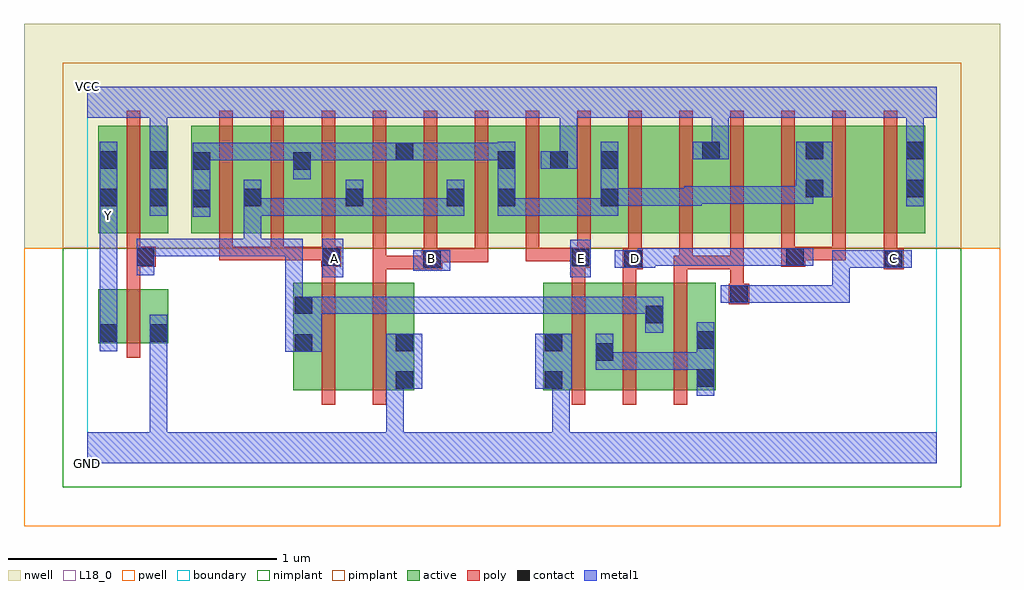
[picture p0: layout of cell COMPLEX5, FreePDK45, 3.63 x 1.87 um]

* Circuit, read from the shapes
.subckt COMPLEX5 A B C D E GND VCC Y
M1 GND n1 Y VSUBS nfet w=0.2u l=0.05u
M2 n2 A n1 VSUBS nfet w=0.4u l=0.05u
M3 GND B n2 VSUBS nfet w=0.4u l=0.05u
M4 n3 E GND VSUBS nfet w=0.4u l=0.05u
M5 n1 D n3 VSUBS nfet w=0.4u l=0.05u
M6 n3 C n1 VSUBS nfet w=0.4u l=0.05u
M7 VCC n1 Y n4 pfet w=0.4u l=0.05u
M8 n1 A n5 n4 pfet w=0.4u l=0.05u m=3
M9 n5 B n1 n4 pfet w=0.4u l=0.05u m=3
M10 VCC E n5 n4 pfet w=0.4u l=0.05u m=2
M11 n6 D n5 n4 pfet w=0.4u l=0.05u
M12 VCC C n6 n4 pfet w=0.4u l=0.05u
M13 n7 C VCC n4 pfet w=0.4u l=0.05u
M14 n5 D n7 n4 pfet w=0.4u l=0.05u
M15 n8 D n5 n4 pfet w=0.4u l=0.05u
M16 VCC C n8 n4 pfet w=0.4u l=0.05u
.ends

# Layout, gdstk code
import gdstk
lib = gdstk.Library(unit=1e-6, precision=1e-09)
def R(c, l, rs):  # rectangles x0, y0, x1, y1
    for r in rs: c.add(gdstk.rectangle(r[:2], r[2:], *l))
def A(c, l, x, y, w, h, nx, ny, dx, dy):  # array of equal rectangles
    R(c, l, [(x+i*dx, y+j*dy, x+i*dx+w, y+j*dy+h) for i in range(nx) for j in range(ny)])
active = (1, 0)
pwell = (2, 0)
nwell = (3, 0)
nimplant = (4, 0)
pimplant = (5, 0)
poly = (9, 0)
contact = (10, 0)
metal1 = (11, 0)
L18_0 = (18, 0)
boundary = (235, 0)

complex5 = lib.new_cell('COMPLEX5')
A(complex5, active, 0.762, 0.855, 0.075, 0.345, 3, 1, 0.38, 0)
R(complex5, active, [(0.767,0.272,0.992,0.672), (0.992,0.272,1.217,0.672), (1.142,0.272,1.217,0.597), (1.697,0.272,1.772,0.672), (1.697,0.272,1.962,0.672), (1.887,0.272,2.147,0.672), (1.887,0.272,1.962,0.597), (2.072,0.272,2.337,0.672), (2.262,0.272,2.337,0.672), (0.767,0.332,0.842,0.672), (2.072,0.345,2.147,0.59), (0.042,0.447,0.117,0.647), (0.042,0.447,0.302,0.647), (0.227,0.447,0.302,0.647), (0.042,0.855,0.302,1.255), (0.042,0.855,0.117,1.2), (0.227,0.855,0.302,1.255), (0.387,0.855,0.652,1.255), (0.387,0.855,0.462,1.2), (0.577,0.855,0.837,1.255), (0.577,0.855,0.652,1.07), (0.762,0.855,1.032,1.255), (0.957,0.855,1.217,1.255), (0.957,0.855,1.032,1.07), (1.142,0.855,1.407,1.255), (1.332,0.855,1.597,1.255), (1.332,0.855,1.407,1.07), (1.522,0.855,1.792,1.255), (1.717,0.855,1.792,1.255), (1.717,0.855,1.98,1.255), (1.905,0.855,1.98,1.2), (1.905,0.855,2.132,1.255), (2.132,0.855,2.357,1.255), (2.282,0.855,2.357,1.255), (2.282,0.855,2.512,1.255), (2.512,0.855,2.742,1.255), (2.667,0.855,2.892,1.255), (2.667,0.855,2.742,1.2), (2.892,0.855,3.117,1.255), (3.042,0.855,3.117,1.255)])
R(complex5, pwell, [(-0.235,-0.235,3.395,0.8)])
R(complex5, nwell, [(-0.235,0.8,3.395,1.635)])
R(complex5, nimplant, [(-0.09,-0.09,3.25,0.8)])
R(complex5, pimplant, [(-0.09,0.8,3.25,1.49)])
A(complex5, poly, 1.802, 0.217, 0.05, 0.51, 3, 1, 0.19, 0)
A(complex5, poly, 0.492, 0.755, 0.05, 0.095, 3, 1, 0.19, 0)
A(complex5, poly, 0.492, 0.8, 0.05, 0.51, 14, 1, 0.19, 0)
R(complex5, poly, [(0.872,0.217,0.922,0.727), (1.062,0.217,1.112,0.727), (0.147,0.392,0.197,0.702), (2.387,0.592,2.462,0.667), (2.392,0.617,2.442,0.772), (0.147,0.652,0.197,0.78), (0.872,0.677,0.922,0.78), (1.062,0.677,1.112,0.772), (1.802,0.677,1.852,0.777), (1.992,0.677,2.042,0.772), (2.182,0.677,2.232,0.772), (1.062,0.722,1.112,0.772), (1.062,0.722,1.112,0.85), (1.062,0.722,1.295,0.772), (1.245,0.722,1.32,0.797), (1.245,0.722,1.295,0.772), (1.245,0.722,1.295,0.772), (1.992,0.722,2.067,0.797), (2.182,0.722,2.252,0.772), (2.202,0.722,2.252,0.85), (2.202,0.722,2.427,0.772), (2.377,0.722,2.427,0.772), (2.377,0.722,2.442,0.772), (2.392,0.722,2.442,0.772), (2.392,0.722,2.442,0.772), (2.392,0.722,2.442,0.772), (2.392,0.722,2.442,0.85), (2.962,0.722,3.037,0.797), (1.797,0.727,1.872,0.802), (0.147,0.73,0.255,0.805), (0.87,0.73,0.945,0.805), (2.582,0.73,2.67,0.805), (1.252,0.747,1.302,0.85), (1.27,0.747,1.492,0.797), (1.442,0.747,1.492,0.85), (1.442,0.747,1.492,0.797), (1.442,0.747,1.492,0.797), (1.442,0.747,1.492,0.797), (2.012,0.747,2.062,0.85), (2.962,0.747,3.012,0.85), (1.632,0.752,1.682,0.802), (1.632,0.752,1.682,0.802), (1.632,0.752,1.682,0.802), (1.632,0.752,1.682,0.85), (1.632,0.752,1.847,0.802), (1.822,0.752,1.872,0.85), (0.147,0.755,0.197,0.85), (0.492,0.755,0.542,0.805), (0.492,0.755,0.542,0.805), (0.492,0.755,0.542,0.805), (0.492,0.755,0.732,0.805), (0.682,0.755,0.732,0.805), (0.682,0.755,0.732,0.805), (0.682,0.755,0.732,0.805), (0.682,0.755,0.92,0.805), (2.582,0.755,2.632,0.85), (2.62,0.755,2.822,0.805), (2.772,0.755,2.822,0.85), (2.772,0.755,2.822,0.805), (2.772,0.755,2.822,0.805), (2.772,0.755,2.822,0.805), (0.147,0.8,0.197,1.31)])
R(complex5, contact, [(1.147,0.277,1.212,0.342), (1.702,0.277,1.767,0.342), (2.267,0.285,2.332,0.35), (1.892,0.382,1.957,0.447), (0.772,0.415,0.837,0.48), (1.147,0.417,1.212,0.482), (1.702,0.417,1.767,0.482), (2.267,0.425,2.332,0.49), (0.047,0.452,0.112,0.517), (0.232,0.452,0.297,0.517), (2.077,0.52,2.142,0.585), (0.772,0.555,0.837,0.62), (2.392,0.597,2.457,0.662), (1.25,0.727,1.315,0.792), (1.997,0.727,2.062,0.792), (2.967,0.727,3.032,0.792), (1.802,0.732,1.867,0.797), (0.185,0.735,0.25,0.8), (0.875,0.735,0.94,0.8), (2.6,0.735,2.665,0.8), (0.392,0.952,0.457,1.017), (0.047,0.955,0.112,1.02), (0.232,0.955,0.297,1.02), (0.582,0.955,0.647,1.02), (0.962,0.955,1.027,1.02), (1.337,0.955,1.402,1.02), (1.527,0.955,1.592,1.02), (1.91,0.955,1.975,1.02), (2.672,0.99,2.737,1.055), (3.047,0.99,3.112,1.055), (0.392,1.092,0.457,1.157), (0.767,1.092,0.832,1.157), (0.047,1.095,0.112,1.16), (0.232,1.095,0.297,1.16), (1.527,1.095,1.592,1.16), (1.722,1.095,1.787,1.16), (1.91,1.095,1.975,1.16), (1.147,1.127,1.212,1.192), (2.287,1.13,2.352,1.195), (2.672,1.13,2.737,1.195), (3.047,1.13,3.112,1.195)])
R(complex5, metal1, [(0,0,3.16,0.115), (0.232,0.05,0.297,0.115), (0.232,0.05,0.297,0.115), (0.232,0.05,0.297,0.482), (1.112,0.05,1.177,0.115), (1.112,0.05,1.177,0.115), (1.112,0.05,1.177,0.342), (1.73,0.05,1.795,0.115), (1.73,0.05,1.795,0.115), (1.73,0.05,1.795,0.115), (1.73,0.05,1.795,0.115), (1.73,0.05,1.795,0.342), (2.267,0.25,2.332,0.525), (1.112,0.277,1.177,0.342), (1.112,0.277,1.177,0.342), (1.112,0.277,1.247,0.482), (1.667,0.277,1.802,0.482), (1.892,0.347,2.14,0.412), (1.892,0.347,1.957,0.482), (2.075,0.347,2.14,0.412), (2.075,0.347,2.14,0.412), (2.075,0.347,2.14,0.412), (2.075,0.347,2.277,0.412), (2.212,0.347,2.277,0.412), (2.212,0.347,2.332,0.412), (0.737,0.415,0.872,0.62), (0.047,0.417,0.112,0.552), (0.232,0.417,0.297,0.482), (0.232,0.417,0.297,0.482), (0.232,0.417,0.297,0.482), (0.232,0.417,0.297,0.482), (0.232,0.417,0.297,0.482), (0.232,0.417,0.297,0.482), (0.232,0.417,0.297,0.552), (2.075,0.485,2.142,0.62), (0.047,0.487,0.112,0.917), (0.737,0.555,0.802,0.835), (0.807,0.555,0.872,0.62), (0.807,0.555,0.872,0.62), (0.807,0.555,1.04,0.62), (0.975,0.555,1.04,0.62), (0.975,0.555,1.04,0.62), (0.975,0.555,1.04,0.62), (0.975,0.555,1.177,0.62), (1.112,0.555,1.177,0.62), (1.112,0.555,1.177,0.62), (1.112,0.555,1.177,0.62), (1.112,0.555,1.455,0.62), (1.39,0.555,1.455,0.62), (1.39,0.555,1.455,0.62), (1.39,0.555,1.455,0.62), (1.39,0.555,1.595,0.62), (1.53,0.555,1.595,0.62), (1.53,0.555,1.595,0.62), (1.53,0.555,1.595,0.62), (1.53,0.555,1.732,0.62), (1.667,0.555,1.87,0.62), (1.667,0.555,1.732,0.62), (1.805,0.555,1.87,0.62), (1.805,0.555,1.87,0.62), (1.805,0.555,1.87,0.62), (1.805,0.555,2.14,0.62), (2.075,0.555,2.14,0.62), (2.075,0.555,2.14,0.62), (2.357,0.597,2.492,0.662), (2.427,0.597,2.63,0.662), (2.427,0.597,2.492,0.662), (2.427,0.597,2.492,0.662), (2.427,0.597,2.492,0.662), (2.427,0.597,2.492,0.662), (2.565,0.597,2.63,0.662), (2.565,0.597,2.837,0.662), (2.772,0.597,2.837,0.662), (2.772,0.597,2.837,0.792), (0.875,0.692,0.952,0.835), (1.797,0.692,1.872,0.832), (0.185,0.7,0.25,0.835), (1.212,0.715,1.35,0.792), (1.962,0.727,2.107,0.792), (2.042,0.727,2.112,0.792), (2.047,0.727,2.112,0.8), (2.772,0.727,2.975,0.792), (2.772,0.727,2.837,0.792), (2.772,0.727,2.837,0.792), (2.772,0.727,2.837,0.792), (2.91,0.727,2.997,0.792), (2.91,0.727,2.975,0.792), (2.932,0.727,3.067,0.792), (2.047,0.735,2.277,0.8), (2.212,0.735,2.277,0.8), (2.212,0.735,2.277,0.8), (2.212,0.735,2.277,0.8), (2.212,0.735,2.492,0.8), (2.427,0.735,2.63,0.8), (2.427,0.735,2.492,0.8), (2.427,0.735,2.492,0.8), (2.427,0.735,2.492,0.8), (2.565,0.735,2.7,0.8), (0.185,0.77,0.25,0.835), (0.185,0.77,0.25,0.835), (0.185,0.77,0.435,0.835), (0.37,0.77,0.435,0.835), (0.37,0.77,0.435,0.835), (0.37,0.77,0.435,0.835), (0.37,0.77,0.647,0.835), (0.582,0.77,0.647,0.835), (0.582,0.77,0.647,0.835), (0.582,0.77,0.647,0.835), (0.582,0.77,0.802,0.835), (0.582,0.77,0.647,0.985), (0.737,0.77,0.802,0.835), (0.047,0.852,0.112,0.987), (0.392,0.917,0.457,1.192), (0.047,0.92,0.112,1.195), (0.047,0.92,0.112,0.985), (0.232,0.92,0.297,1.195), (0.582,0.92,0.647,0.985), (0.582,0.92,0.647,0.985), (0.582,0.92,0.647,1.055), (0.582,0.92,0.852,0.985), (0.787,0.92,0.852,0.985), (0.787,0.92,0.852,0.985), (0.787,0.92,0.852,0.985), (0.787,0.92,1.027,0.985), (0.962,0.92,1.027,0.985), (0.962,0.92,1.027,0.985), (0.962,0.92,1.027,1.055), (0.962,0.92,1.177,0.985), (1.112,0.92,1.177,0.985), (1.112,0.92,1.177,0.985), (1.112,0.92,1.177,0.985), (1.112,0.92,1.402,0.985), (1.337,0.92,1.402,1.055), (1.527,0.92,1.592,1.195), (1.527,0.92,1.592,0.985), (1.527,0.92,1.592,0.985), (1.527,0.92,1.595,0.985), (1.53,0.92,1.595,0.985), (1.53,0.92,1.732,0.985), (1.667,0.92,1.732,0.985), (1.667,0.92,1.732,0.985), (1.667,0.92,1.732,0.985), (1.667,0.92,1.975,0.985), (1.91,0.92,1.975,1.195), (3.047,0.955,3.112,1.23), (1.91,0.957,2.14,1.022), (2.075,0.957,2.14,1.022), (2.075,0.957,2.14,1.022), (2.075,0.957,2.14,1.022), (2.075,0.957,2.285,1.022), (2.22,0.957,2.285,1.03), (2.22,0.965,2.285,1.03), (2.22,0.965,2.285,1.03), (2.22,0.965,2.485,1.03), (2.42,0.965,2.485,1.03), (2.42,0.965,2.485,1.03), (2.42,0.965,2.485,1.03), (2.42,0.965,2.7,1.03), (2.635,0.965,2.7,1.055), (2.635,0.99,2.702,1.055), (2.637,0.99,2.772,1.195), (0.767,1.057,0.832,1.192), (1.687,1.095,1.822,1.16), (1.757,1.095,1.822,1.35), (0.392,1.127,0.457,1.192), (0.392,1.127,0.457,1.192), (0.392,1.127,0.665,1.192), (0.6,1.127,0.665,1.192), (0.6,1.127,0.665,1.192), (0.6,1.127,0.665,1.192), (0.6,1.127,0.832,1.192), (0.767,1.127,0.832,1.192), (0.767,1.127,0.832,1.192), (0.767,1.127,1.01,1.192), (0.945,1.127,1.01,1.192), (0.945,1.127,1.01,1.192), (0.945,1.127,1.01,1.192), (0.945,1.127,1.177,1.192), (1.112,1.127,1.247,1.192), (1.182,1.127,1.385,1.192), (1.182,1.127,1.247,1.192), (1.182,1.127,1.247,1.192), (1.32,1.127,1.385,1.192), (1.32,1.127,1.385,1.192), (1.32,1.127,1.385,1.192), (1.32,1.127,1.592,1.192), (0.232,1.13,0.297,1.35), (2.252,1.13,2.387,1.195), (2.322,1.13,2.387,1.35), (3.047,1.165,3.112,1.35), (0,1.285,3.16,1.4)])
R(complex5, L18_0, [(0,0,3.16,0.115), (0.232,0.05,0.297,0.115), (0.232,0.05,0.297,0.115), (0.232,0.05,0.297,0.482), (1.112,0.05,1.177,0.115), (1.112,0.05,1.177,0.115), (1.112,0.05,1.177,0.342), (1.73,0.05,1.795,0.115), (1.73,0.05,1.795,0.115), (1.73,0.05,1.795,0.115), (1.73,0.05,1.795,0.115), (1.73,0.05,1.795,0.342), (1.112,0.277,1.177,0.342), (1.112,0.277,1.177,0.342), (1.112,0.277,1.247,0.482), (1.667,0.277,1.802,0.482), (0.047,0.417,0.112,0.552), (0.232,0.417,0.297,0.552), (0.232,0.417,0.297,0.482), (0.232,0.417,0.297,0.482), (0.232,0.417,0.297,0.482), (0.232,0.417,0.297,0.482), (0.232,0.417,0.297,0.482), (0.232,0.417,0.297,0.482), (0.047,0.487,0.112,0.917), (2.357,0.597,2.492,0.662), (2.427,0.597,2.492,0.662), (2.427,0.597,2.492,0.662), (2.427,0.597,2.492,0.662), (2.427,0.597,2.492,0.662), (2.427,0.597,2.63,0.662), (2.565,0.597,2.63,0.662), (2.565,0.597,2.837,0.662), (2.772,0.597,2.837,0.662), (2.772,0.597,2.837,0.792), (0.875,0.692,0.952,0.835), (1.797,0.692,1.872,0.832), (1.212,0.715,1.35,0.792), (0.887,0.727,0.952,0.792), (1.247,0.727,1.312,0.792), (1.807,0.727,1.872,0.792), (1.962,0.727,2.107,0.792), (2.007,0.727,2.072,0.792), (2.042,0.727,2.112,0.792), (2.047,0.727,2.112,0.8), (2.772,0.727,2.837,0.792), (2.772,0.727,2.837,0.792), (2.772,0.727,2.837,0.792), (2.772,0.727,2.975,0.792), (2.91,0.727,2.975,0.792), (2.91,0.727,2.997,0.792), (2.932,0.727,3.067,0.792), (2.967,0.727,3.032,0.792), (2.047,0.735,2.277,0.8), (2.212,0.735,2.277,0.8), (2.212,0.735,2.277,0.8), (2.212,0.735,2.277,0.8), (2.212,0.735,2.492,0.8), (2.427,0.735,2.492,0.8), (2.427,0.735,2.492,0.8), (2.427,0.735,2.492,0.8), (2.427,0.735,2.63,0.8), (2.565,0.735,2.7,0.8), (0.047,0.852,0.112,0.987), (0.047,0.887,0.112,0.952), (0.047,0.92,0.112,1.195), (0.047,0.92,0.112,0.985), (0.232,0.92,0.297,1.195), (3.047,0.955,3.112,1.23), (1.687,1.095,1.822,1.16), (1.757,1.095,1.822,1.35), (0.232,1.13,0.297,1.35), (2.252,1.13,2.387,1.195), (2.322,1.13,2.387,1.35), (3.047,1.165,3.112,1.35), (0,1.285,3.16,1.4)])
R(complex5, boundary, [(0,0,3.16,1.4)])
complex5.add(gdstk.Label('A', (0.92,0.76), layer=11, texttype=0))
complex5.add(gdstk.Label('B', (1.28,0.76), layer=11, texttype=0))
complex5.add(gdstk.Label('C', (3,0.76), layer=11, texttype=0))
complex5.add(gdstk.Label('D', (2.04,0.76), layer=11, texttype=0))
complex5.add(gdstk.Label('E', (1.84,0.76), layer=11, texttype=0))
complex5.add(gdstk.Label('Y', (0.08,0.92), layer=11, texttype=0))
complex5.add(gdstk.Label('VCC', (0,1.4), layer=11, texttype=0))
complex5.add(gdstk.Label('GND', (0,0), layer=11, texttype=0))

lib.write_gds('COMPLEX5.gds')
